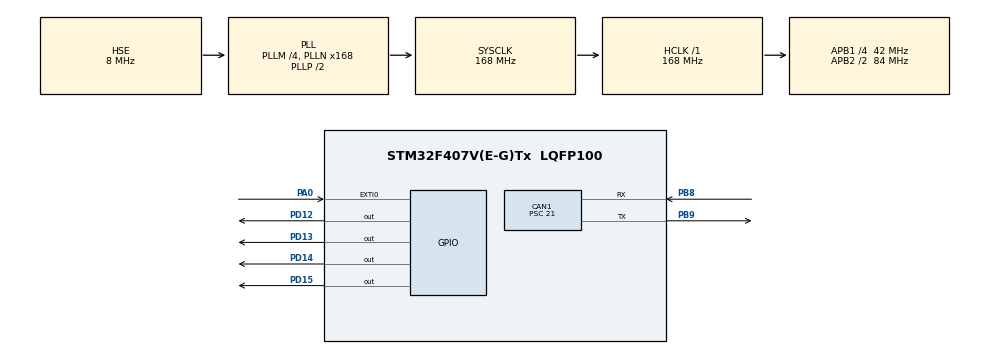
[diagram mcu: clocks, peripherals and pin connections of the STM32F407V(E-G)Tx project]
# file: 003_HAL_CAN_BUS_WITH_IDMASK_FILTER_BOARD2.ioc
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CAN1.BS1=CAN_BS1_10TQ
CAN1.BS2=CAN_BS2_5TQ
CAN1.CalculateBaudRate=125000
CAN1.CalculateTimeBit=8000
CAN1.CalculateTimeQuantum=500.0
CAN1.Prescaler=21
Mcu.Family=STM32F4
Mcu.Name=STM32F407V(E-G)Tx
Mcu.Package=LQFP100
NVIC.CAN1_RX0_IRQn=true\:0\:1\:false\:false\:true\:true\:true\:true
NVIC.EXTI0_IRQn=true\:0\:0\:false\:false\:true\:true\:true\:true
NVIC.PriorityGroup=NVIC_PRIORITYGROUP_0
PA0-WKUP.Signal=GPXTI0
PB8.Mode=CAN_Activate
PB8.Signal=CAN1_RX
PB9.Mode=CAN_Activate
PB9.Signal=CAN1_TX
PD12.Signal=GPIO_Output
PD13.Signal=GPIO_Output
PD14.Signal=GPIO_Output
PD15.Signal=GPIO_Output
PH0-OSC_IN.Mode=HSE-External-Oscillator
PH0-OSC_IN.Signal=RCC_OSC_IN
PH1-OSC_OUT.Mode=HSE-External-Oscillator
PH1-OSC_OUT.Signal=RCC_OSC_OUT
ProjectManager.HeapSize=0x200
ProjectManager.StackSize=0x400
ProjectManager.TargetToolchain=STM32CubeIDE
RCC.48MHZClocksFreq_Value=84000000
RCC.AHBFreq_Value=168000000
RCC.APB1CLKDivider=RCC_HCLK_DIV4
RCC.APB1Freq_Value=42000000
RCC.APB1TimFreq_Value=84000000
RCC.APB2CLKDivider=RCC_HCLK_DIV2
RCC.APB2Freq_Value=84000000
RCC.APB2TimFreq_Value=168000000
RCC.CortexFreq_Value=168000000
RCC.HCLKFreq_Value=168000000
RCC.HSE_VALUE=8000000
RCC.HSI_VALUE=16000000
RCC.LSE_VALUE=32768
RCC.PLLM=4
RCC.PLLN=168
RCC.PLLSourceVirtual=RCC_PLLSOURCE_HSE
RCC.SYSCLKFreq_VALUE=168000000
RCC.SYSCLKSource=RCC_SYSCLKSOURCE_PLLCLK
RCC.VCOOutputFreq_Value=336000000
board=custom

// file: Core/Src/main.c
/* USER CODE BEGIN Header */
/**
  ******************************************************************************
  * @file           : main.c
  * @brief          : Main program body
  ******************************************************************************
  * @attention
  *
  * Copyright (c) 2026 STMicroelectronics.
  * All rights reserved.
  *
  * This software is licensed under terms that can be found in the LICENSE file
  * in the root directory of this software component.
  * If no LICENSE file comes with this software, it is provided AS-IS.
  *
  ******************************************************************************
  */
/* USER CODE END Header */
#include "main.h"

CAN_HandleTypeDef hcan1;

CAN_TxHeaderTypeDef pTXHeader;
CAN_RxHeaderTypeDef pRXHeader;

CAN_FilterTypeDef sFilterConfig;

uint8_t count;
uint8_t rCount;
uint32_t pTxMailbox;

void SystemClock_Config(void);
static void MX_GPIO_Init(void);
static void MX_CAN1_Init(void);

int main(void)
{

  /* MCU Configuration--------------------------------------------------------*/

  /* Reset of all peripherals, Initializes the Flash interface and the Systick. */
  HAL_Init();

  /* Configure the system clock */
  SystemClock_Config();

  /* Initialize all configured peripherals */
  MX_GPIO_Init();
  MX_CAN1_Init();
  /* USER CODE BEGIN 2 */

  	  // Start CAN Communication
  HAL_CAN_Start(&hcan1);
  	  // Enable interrupts
  HAL_CAN_ActivateNotification(&hcan1, CAN_IT_RX_FIFO0_MSG_PENDING);
  	  // Set transmit parameters
  pTXHeader.DLC = 1;
  pTXHeader.IDE = CAN_ID_STD;
  pTXHeader.RTR = CAN_RTR_DATA;
  pTXHeader.StdId = 0x0156;

  	  // Set Filter Parameters
  sFilterConfig.FilterActivation = ENABLE;
  sFilterConfig.FilterBank = 0;
  sFilterConfig.FilterFIFOAssignment = CAN_FilterFIFO0;
  sFilterConfig.FilterIdHigh = 0x0150 << 5;
  sFilterConfig.FilterIdLow = 0x0000;
  sFilterConfig.FilterMaskIdHigh = 0xFFF0 << 5;		// 0x0150 << 5
  sFilterConfig.FilterMaskIdLow = 0x0000;
  sFilterConfig.FilterMode = CAN_FILTERMODE_IDMASK;
  sFilterConfig.FilterScale = CAN_FILTERSCALE_32BIT;

  HAL_CAN_ConfigFilter(&hcan1, &sFilterConfig);

  /* USER CODE END 2 */

  /* Infinite loop */
  while (1)
  {

  }
}

void SystemClock_Config(void)
{
  RCC_OscInitTypeDef RCC_OscInitStruct = {0};
  RCC_ClkInitTypeDef RCC_ClkInitStruct = {0};

  /** Configure the main internal regulator output voltage
  */
  __HAL_RCC_PWR_CLK_ENABLE();
  __HAL_PWR_VOLTAGESCALING_CONFIG(PWR_REGULATOR_VOLTAGE_SCALE1);

  /** Initializes the RCC Oscillators according to the specified parameters
  * in the RCC_OscInitTypeDef structure.
  */
  RCC_OscInitStruct.OscillatorType = RCC_OSCILLATORTYPE_HSE;
  RCC_OscInitStruct.HSEState = RCC_HSE_ON;
  RCC_OscInitStruct.PLL.PLLState = RCC_PLL_ON;
  RCC_OscInitStruct.PLL.PLLSource = RCC_PLLSOURCE_HSE;
  RCC_OscInitStruct.PLL.PLLM = 4;
  RCC_OscInitStruct.PLL.PLLN = 168;
  RCC_OscInitStruct.PLL.PLLP = RCC_PLLP_DIV2;
  RCC_OscInitStruct.PLL.PLLQ = 4;
  if (HAL_RCC_OscConfig(&RCC_OscInitStruct) != HAL_OK)
  {
    Error_Handler();
  }

  /** Initializes the CPU, AHB and APB buses clocks
  */
  RCC_ClkInitStruct.ClockType = RCC_CLOCKTYPE_HCLK|RCC_CLOCKTYPE_SYSCLK
                              |RCC_CLOCKTYPE_PCLK1|RCC_CLOCKTYPE_PCLK2;
  RCC_ClkInitStruct.SYSCLKSource = RCC_SYSCLKSOURCE_PLLCLK;
  RCC_ClkInitStruct.AHBCLKDivider = RCC_SYSCLK_DIV1;
  RCC_ClkInitStruct.APB1CLKDivider = RCC_HCLK_DIV4;
  RCC_ClkInitStruct.APB2CLKDivider = RCC_HCLK_DIV2;

  if (HAL_RCC_ClockConfig(&RCC_ClkInitStruct, FLASH_LATENCY_5) != HAL_OK)
  {
    Error_Handler();
  }
}

static void MX_CAN1_Init(void)
{

  hcan1.Instance = CAN1;
  hcan1.Init.Prescaler = 21;
  hcan1.Init.Mode = CAN_MODE_NORMAL;
  hcan1.Init.SyncJumpWidth = CAN_SJW_1TQ;
  hcan1.Init.TimeSeg1 = CAN_BS1_10TQ;
  hcan1.Init.TimeSeg2 = CAN_BS2_5TQ;
  hcan1.Init.TimeTriggeredMode = DISABLE;
  hcan1.Init.AutoBusOff = DISABLE;
  hcan1.Init.AutoWakeUp = DISABLE;
  hcan1.Init.AutoRetransmission = DISABLE;
  hcan1.Init.ReceiveFifoLocked = DISABLE;
  hcan1.Init.TransmitFifoPriority = DISABLE;
  if (HAL_CAN_Init(&hcan1) != HAL_OK)
  {
    Error_Handler();
  }

}

static void MX_GPIO_Init(void)
{
  GPIO_InitTypeDef GPIO_InitStruct = {0};

  /* GPIO Ports Clock Enable */
  __HAL_RCC_GPIOH_CLK_ENABLE();
  __HAL_RCC_GPIOA_CLK_ENABLE();
  __HAL_RCC_GPIOD_CLK_ENABLE();
  __HAL_RCC_GPIOB_CLK_ENABLE();

  /*Configure GPIO pin Output Level */
  HAL_GPIO_WritePin(GPIOD, GPIO_PIN_12|GPIO_PIN_13|GPIO_PIN_14|GPIO_PIN_15, GPIO_PIN_RESET);

  /*Configure GPIO pin : PA0 */
  GPIO_InitStruct.Pin = GPIO_PIN_0;
  GPIO_InitStruct.Mode = GPIO_MODE_IT_RISING;
  GPIO_InitStruct.Pull = GPIO_NOPULL;
  HAL_GPIO_Init(GPIOA, &GPIO_InitStruct);

  /*Configure GPIO pins : PD12 PD13 PD14 PD15 */
  GPIO_InitStruct.Pin = GPIO_PIN_12|GPIO_PIN_13|GPIO_PIN_14|GPIO_PIN_15;
  GPIO_InitStruct.Mode = GPIO_MODE_OUTPUT_PP;
  GPIO_InitStruct.Pull = GPIO_NOPULL;
  GPIO_InitStruct.Speed = GPIO_SPEED_FREQ_LOW;
  HAL_GPIO_Init(GPIOD, &GPIO_InitStruct);

  /* EXTI interrupt init*/
  HAL_NVIC_SetPriority(EXTI0_IRQn, 0, 0);
  HAL_NVIC_EnableIRQ(EXTI0_IRQn);

}

void Error_Handler(void)
{
  __disable_irq();
  while (1)
  {
  }
}
